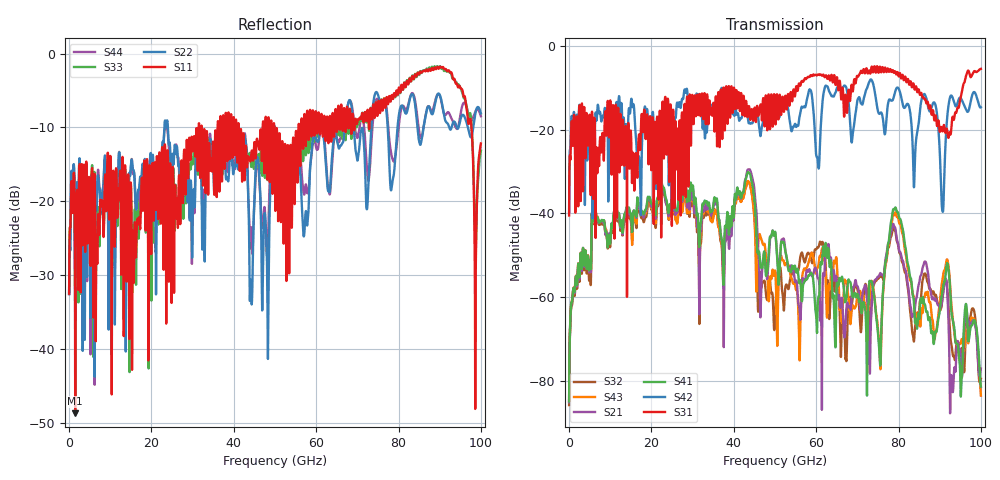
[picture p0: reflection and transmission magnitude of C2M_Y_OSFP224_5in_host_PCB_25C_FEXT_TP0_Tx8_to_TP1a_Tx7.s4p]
# GHz S RI R 45
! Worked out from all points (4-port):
!   4000 points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, 25 MHz to 100 GHz, reference 45 ohm
!   strongest paths, dB at 25 MHz, 25.02 GHz, 50.02 GHz, 75.03 GHz, 100 GHz:
!     S31: -40.5, -26.7, -15.4, -5.8, -5.4
!     S42: -39.6, -29.2, -16.0, -15.6, -14.6
!     S41: -85.0, -36.6, -44.4, -68.9, -81.4
!     S21: -85.2, -37.0, -44.9, -55.2, -77.1
!     S43: -84.9, -38.4, -53.7, -68.0, -83.6
!     S32: -85.9, -38.4, -65.3, -55.6, -79.6
!   lowest |S11| = -48.7 dB at 1.5 GHz (marker M1), VSWR 1.01, Z = 45.3 - j0.168 ohm
!   |S11| at or under -10 dB: start of sweep to 31.47 GHz; 41.22 GHz to 47.02 GHz (5.797 GHz wide, 13.1 % of centre); 49.84 GHz to 55.71 GHz (5.869 GHz wide, 11.1 % of centre) (the widest 3 of 39)
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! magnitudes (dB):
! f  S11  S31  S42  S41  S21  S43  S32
! 25 MHz  -32.5  -40.5  -39.6  -85.0  -85.2  -84.9  -85.9
! 1.5 GHz  -48.7  -31.9  -26.7  -56.9  -57.1  -56.7  -57.9
! 43.7 GHz  -14.2  -14.3  -18.4  -30.4  -29.4  -32.6  -32.7
! 49.73 GHz  -9.4  -11.7  -15.0  -45.3  -45.2  -54.9  -66.8
! 75.35 GHz  -7.1  -5.2  -16.2  -73.0  -54.8  -71.6  -55.2
! 78.88 GHz  -5.4  -6.4  -12.0  -39.1  -42.9  -40.4  -43.9
! 100 GHz  -12.2  -5.4  -14.6  -81.4  -77.1  -83.6  -79.6
